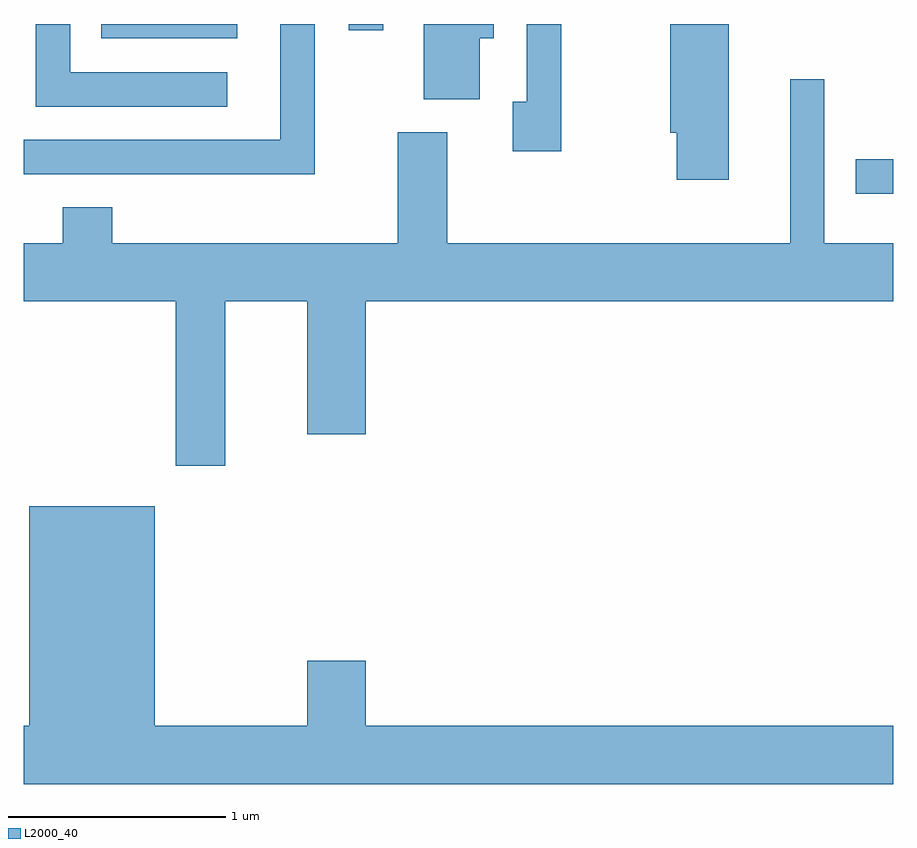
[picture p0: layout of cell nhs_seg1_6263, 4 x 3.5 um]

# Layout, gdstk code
import gdstk
lib = gdstk.Library(unit=1e-6, precision=1e-09)
def R(c, l, rs):  # rectangles x0, y0, x1, y1
    for r in rs: c.add(gdstk.rectangle(r[:2], r[2:], *l))
def P(c, l, *ps):  # polygons
    for p in ps: c.add(gdstk.Polygon(p, *l))
L2000_40 = (2000, 40)

nhs_seg1_6263 = lib.new_cell('nhs_seg1_6263')
R(nhs_seg1_6263, L2000_40, [(377.438,928.931,377.611,929.089), (373.968,929.646,374.594,929.712), (375.106,929.683,375.264,929.712)])
P(nhs_seg1_6263, L2000_40, [(374.949,929.712),(374.791,929.712),(374.791,929.179),(373.611,929.179),(373.611,929.021),(374.949,929.021)],
  [(374.548,929.489),(373.824,929.489),(373.824,929.712),(373.666,929.712),(373.666,929.331),(374.548,929.331)],
  [(376.084,929.712),(375.926,929.712),(375.926,929.354),(375.861,929.354),(375.861,929.126),(376.084,929.126)],
  [(376.854,929.712),(376.586,929.712),(376.586,929.211),(376.616,929.211),(376.616,928.996),(376.854,928.996)],
  [(375.709,929.646),(375.774,929.646),(375.774,929.712),(375.451,929.712),(375.451,929.366),(375.709,929.366)],
  [(374.539,928.436),(374.916,928.436),(374.916,927.826),(375.184,927.826),(375.184,928.436),(377.611,928.436),(377.611,928.704),(377.294,928.704),(377.294,929.458),(377.136,929.458),(377.136,928.704),(375.559,928.704),(375.559,929.214),(375.331,929.214),(375.331,928.704),(374.019,928.704),(374.019,928.869),(373.791,928.869),(373.791,928.704),(373.611,928.704),(373.611,928.436),(374.311,928.436),(374.311,927.681),(374.539,927.681)],
  [(377.611,926.484),(375.184,926.484),(375.184,926.784),(374.916,926.784),(374.916,926.484),(374.214,926.484),(374.214,927.494),(373.636,927.494),(373.636,926.484),(373.611,926.484),(373.611,926.216),(377.611,926.216)])

lib.write_gds('nhs_seg1_6263.gds')
